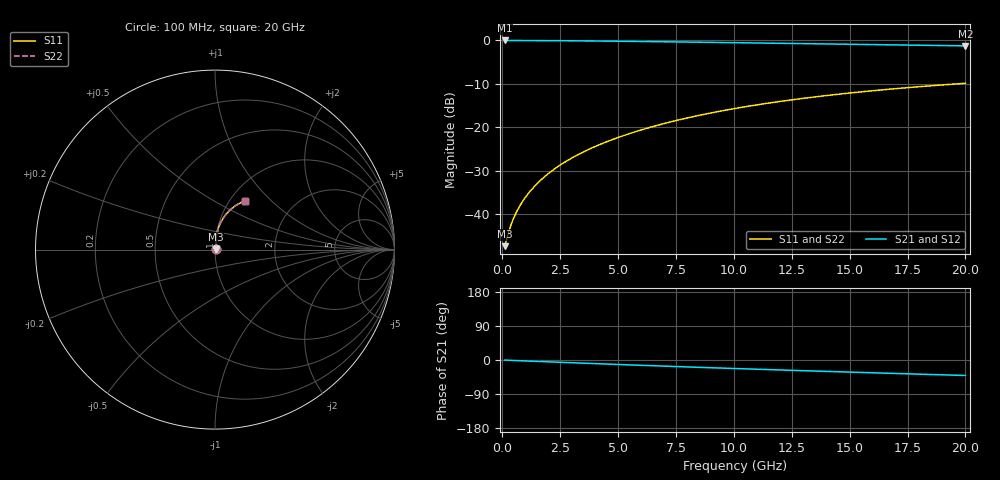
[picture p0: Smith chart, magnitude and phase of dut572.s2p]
! Touchstone file exported from HFSS 2024.1.0
!  File:  C:/UserFiles/LocalFiles/RDL_TSV_Batchsim/temp_RDL_top_572_1779681734.aedt
!  Generated:  12:04:30 PM May 25, 2026
!  Design:  RDL_top
!  Project:  temp_RDL_top_572_1779681734
!  Setup:  Setup1
!  Solution:  Sweep
! Variables:
!  dtsv = 10.80580581um
!  hbump = 3um
!  htsv = 58.52um
!  ldown = 100um
!  lrdl = 628.58um
!  p = 40
!  p1 = 40.38um
!  rhole = 1um
!  t = 450um
!  tdown = 3.915915916um
!  trdl = 2.72um
!  wdown = 15.38538539um
!  wrdl = 22.01um
# GHz S MA R 50.000000
! Terminal data exported
! Port[1] = Box2_T1
! Port[2] = Box2_T2
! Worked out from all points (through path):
!   200 points, 100 MHz to 20 GHz, reference 50 ohm
!   highest |S21| = -0.03 dB at 100 MHz (marker M1); lowest = -1.3 dB at 20 GHz (marker M2)
!   group delay of S21, straight-line fit = 5.63 ps
!   lowest |S11| = -47.3 dB at 100 MHz (marker M3), VSWR 1.01, Z = 50.4 + j0.174 ohm
!   |S11| at or under -10 dB: start of sweep to 19.66 GHz
!   |S22| runs from -47.3 to -9.9 dB; largest |S21 - S12| = 4.4e-15
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0.1  0.004313 23.6  0.996 -0.3  0.996 -0.3  0.004313 23.6
! Gamma 0 0 0 0
! Port Impedance 50 0 50 0
0.3  0.006573 48.9  0.9956 -0.8  0.9956 -0.8  0.006572 48.9
0.4  0.007872 55.0  0.9953 -1.0  0.9953 -1.0  0.007872 55.0
0.6  0.01047 62.5  0.9948 -1.5  0.9948 -1.5  0.01047 62.5
0.7  0.01177 65.1  0.9946 -1.8  0.9946 -1.8  0.01177 65.1
0.9  0.01439 69.2  0.9942 -2.2  0.9942 -2.2  0.01439 69.2
1.2  0.0184 73.4  0.9935 -3.0  0.9935 -3.0  0.0184 73.5
1.4  0.02113 75.5  0.993 -3.4  0.993 -3.4  0.02113 75.5
1.7  0.02532 77.8  0.9922 -4.2  0.9922 -4.2  0.02532 77.8
2.2  0.03248 80.3  0.9906 -5.4  0.9906 -5.4  0.03249 80.4
2.8  0.04138 82.1  0.9882 -6.8  0.9882 -6.8  0.04138 82.2
3.5  0.05214 83.3  0.9849 -8.4  0.9849 -8.4  0.05215 83.3
4.2  0.06328 83.7  0.9811 -10.0  0.9811 -10.0  0.0633 83.8
5  0.07644 83.7  0.9762 -11.9  0.9762 -11.9  0.07647 83.8
5.9  0.09169 83.1  0.9702 -13.9  0.9702 -13.9  0.09175 83.2
6.8  0.1073 82.2  0.9638 -15.8  0.9638 -15.8  0.1074 82.3
8.4  0.1355 79.9  0.9519 -19.2  0.9519 -19.2  0.1357 80.0
10.1  0.1656 77.0  0.9388 -22.6  0.9388 -22.6  0.1658 77.1
11.7  0.1934 74.0  0.9264 -25.8  0.9264 -25.8  0.1937 74.1
13.4  0.2221 70.7  0.9132 -29.0  0.9132 -29.0  0.2224 70.8
16.7  0.2741 64.3  0.8879 -35.1  0.8879 -35.1  0.2746 64.5
20  0.3207 58.2  0.8632 -40.8  0.8632 -40.8  0.3213 58.3
